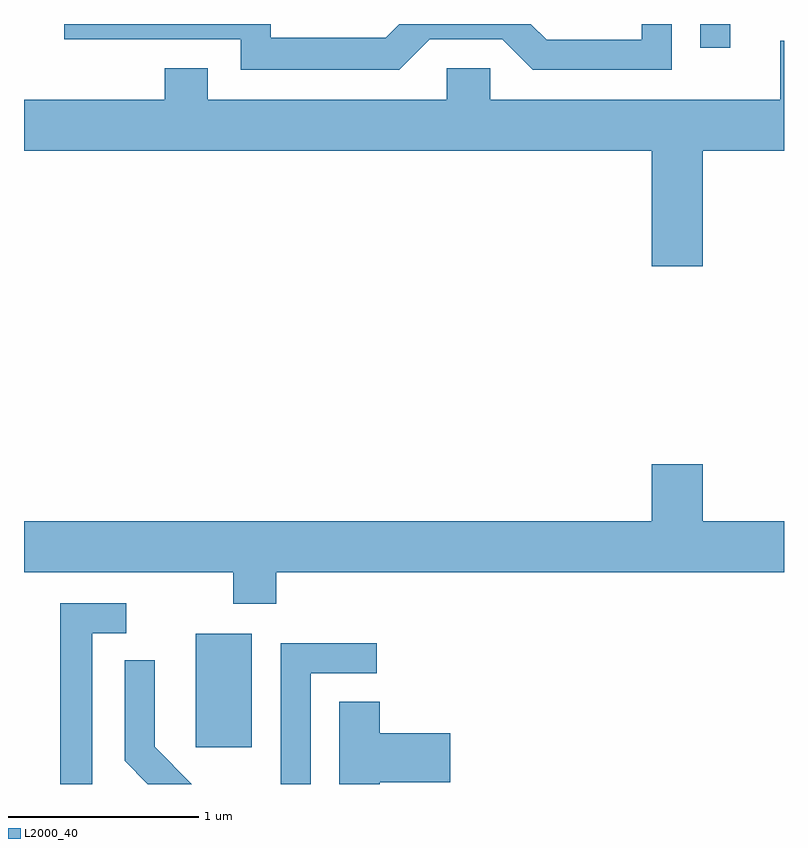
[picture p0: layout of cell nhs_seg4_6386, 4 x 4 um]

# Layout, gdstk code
import gdstk
lib = gdstk.Library(unit=1e-6, precision=1e-09)
def R(c, l, rs):  # rectangles x0, y0, x1, y1
    for r in rs: c.add(gdstk.rectangle(r[:2], r[2:], *l))
def P(c, l, *ps):  # polygons
    for p in ps: c.add(gdstk.Polygon(p, *l))
L2000_40 = (2000, 40)

nhs_seg4_6386 = lib.new_cell('nhs_seg4_6386')
R(nhs_seg4_6386, L2000_40, [(372.516,1378.176,372.809,1378.774), (375.171,1381.858,375.329,1381.982)])
P(nhs_seg4_6386, L2000_40, [(373.747,1381.901),(374.129,1381.901),(374.289,1381.741),(375.019,1381.741),(375.019,1381.982),(374.861,1381.982),(374.861,1381.899),(374.362,1381.899),(374.279,1381.982),(373.587,1381.982),(373.514,1381.909),(372.909,1381.909),(372.909,1381.982),(371.823,1381.982),(371.823,1381.901),(372.751,1381.901),(372.751,1381.741),(373.587,1381.741)],
  [(375.184,1381.316),(375.611,1381.316),(375.611,1381.894),(375.591,1381.894),(375.591,1381.584),(374.064,1381.584),(374.064,1381.749),(373.836,1381.749),(373.836,1381.584),(372.579,1381.584),(372.579,1381.749),(372.351,1381.749),(372.351,1381.584),(371.611,1381.584),(371.611,1381.316),(374.916,1381.316),(374.916,1380.706),(375.184,1380.706)],
  [(372.939,1379.096),(375.611,1379.096),(375.611,1379.364),(375.184,1379.364),(375.184,1379.664),(374.916,1379.664),(374.916,1379.364),(371.611,1379.364),(371.611,1379.096),(372.711,1379.096),(372.711,1378.931),(372.939,1378.931)],
  [(371.969,1378.776),(372.148,1378.776),(372.148,1378.934),(371.801,1378.934),(371.801,1377.982),(371.969,1377.982)],
  [(373.119,1378.566),(373.468,1378.566),(373.468,1378.724),(372.961,1378.724),(372.961,1377.982),(373.119,1377.982)],
  [(372.299,1378.177),(372.299,1378.633),(372.141,1378.633),(372.141,1378.104),(372.263,1377.982),(372.494,1377.982)],
  [(373.484,1377.991),(373.854,1377.991),(373.854,1378.249),(373.484,1378.249),(373.484,1378.414),(373.271,1378.414),(373.271,1377.982),(373.484,1377.982)])

lib.write_gds('nhs_seg4_6386.gds')
